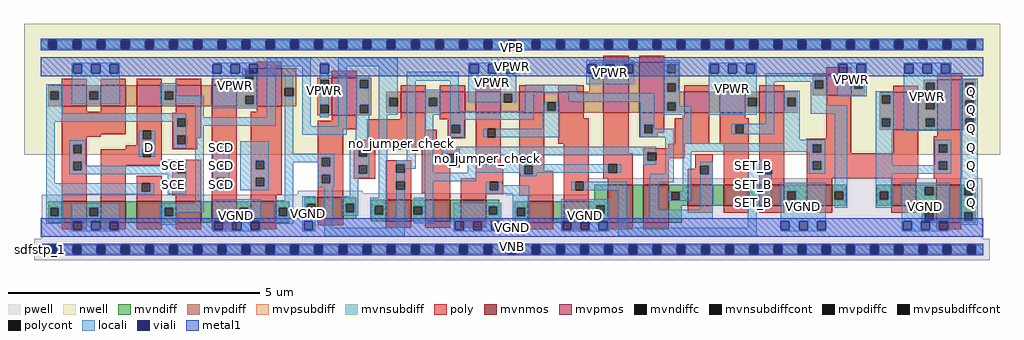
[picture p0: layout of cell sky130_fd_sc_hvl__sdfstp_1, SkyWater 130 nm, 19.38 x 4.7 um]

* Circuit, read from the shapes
.subckt sky130_fd_sc_hvl__sdfstp_1 CLK D SCD SCE SET_B VGND VNB VPB VPWR Q
XM1 VGND SCE n1 VNB sky130_fd_pr__nfet_g5v0d10v5 w=0.42 l=0.5
XM2 n2 D VGND VNB sky130_fd_pr__nfet_g5v0d10v5 w=0.42 l=0.5
XM3 n3 n1 n2 VNB sky130_fd_pr__nfet_g5v0d10v5 w=0.42 l=0.5
XM4 n4 SCE n3 VNB sky130_fd_pr__nfet_g5v0d10v5 w=0.42 l=0.5
XM5 VGND SCD n4 VNB sky130_fd_pr__nfet_g5v0d10v5 w=0.42 l=0.5
XM6 n5 CLK VGND VNB sky130_fd_pr__nfet_g5v0d10v5 w=0.42 l=0.5
XM7 n6 n5 VGND VNB sky130_fd_pr__nfet_g5v0d10v5 w=0.42 l=0.5
XM8 n7 n5 n3 VNB sky130_fd_pr__nfet_g5v0d10v5 w=0.42 l=0.5
XM9 n8 n6 n7 VNB sky130_fd_pr__nfet_g5v0d10v5 w=0.42 l=0.5
XM10 VGND n9 n8 VNB sky130_fd_pr__nfet_g5v0d10v5 w=0.42 l=0.5
XM11 n10 n7 n9 VNB sky130_fd_pr__nfet_g5v0d10v5 w=0.42 l=0.5
XM12 VGND SET_B n10 VNB sky130_fd_pr__nfet_g5v0d10v5 w=0.42 l=0.5
XM13 n11 n7 VGND VNB sky130_fd_pr__nfet_g5v0d10v5 w=0.75 l=0.5
XM14 n12 n6 n11 VNB sky130_fd_pr__nfet_g5v0d10v5 w=0.75 l=0.5
XM15 n13 n5 n12 VNB sky130_fd_pr__nfet_g5v0d10v5 w=0.42 l=0.5
XM16 n14 n15 n13 VNB sky130_fd_pr__nfet_g5v0d10v5 w=0.42 l=0.5
XM17 VGND SET_B n14 VNB sky130_fd_pr__nfet_g5v0d10v5 w=0.42 l=0.5
XM18 n15 n12 VGND VNB sky130_fd_pr__nfet_g5v0d10v5 w=0.42 l=0.5
XM19 VGND n12 n16 VNB sky130_fd_pr__nfet_g5v0d10v5 w=0.42 l=0.5
XM20 Q n16 VGND VNB sky130_fd_pr__nfet_g5v0d10v5 w=0.75 l=0.5
XM21 VPWR SCE n1 VPB sky130_fd_pr__pfet_g5v0d10v5 w=0.42 l=0.5
XM22 n17 SCE VPWR VPB sky130_fd_pr__pfet_g5v0d10v5 w=0.42 l=0.5
XM23 n3 D n17 VPB sky130_fd_pr__pfet_g5v0d10v5 w=0.42 l=0.5
XM24 n18 n1 n3 VPB sky130_fd_pr__pfet_g5v0d10v5 w=0.42 l=0.5
XM25 VPWR SCD n18 VPB sky130_fd_pr__pfet_g5v0d10v5 w=0.42 l=0.5
XM26 n5 CLK VPWR VPB sky130_fd_pr__pfet_g5v0d10v5 w=0.75 l=0.5
XM27 n6 n5 VPWR VPB sky130_fd_pr__pfet_g5v0d10v5 w=0.75 l=0.5
XM28 n7 n6 n3 VPB sky130_fd_pr__pfet_g5v0d10v5 w=0.42 l=0.5
XM29 n19 n5 n7 VPB sky130_fd_pr__pfet_g5v0d10v5 w=0.42 l=0.5
XM30 VPWR n9 n19 VPB sky130_fd_pr__pfet_g5v0d10v5 w=0.42 l=0.5
XM31 n9 n7 VPWR VPB sky130_fd_pr__pfet_g5v0d10v5 w=0.42 l=0.5
XM32 VPWR SET_B n9 VPB sky130_fd_pr__pfet_g5v0d10v5 w=0.42 l=0.5
XM33 n20 n7 VPWR VPB sky130_fd_pr__pfet_g5v0d10v5 w=1 l=0.5
XM34 n12 n5 n20 VPB sky130_fd_pr__pfet_g5v0d10v5 w=1 l=0.5
XM35 n21 n6 n12 VPB sky130_fd_pr__pfet_g5v0d10v5 w=0.42 l=0.5
XM36 VPWR n15 n21 VPB sky130_fd_pr__pfet_g5v0d10v5 w=0.42 l=0.5
XM37 n12 SET_B VPWR VPB sky130_fd_pr__pfet_g5v0d10v5 w=0.42 l=0.5
XM38 VPWR n12 n15 VPB sky130_fd_pr__pfet_g5v0d10v5 w=0.42 l=0.5
XM39 VPWR n12 n16 VPB sky130_fd_pr__pfet_g5v0d10v5 w=0.75 l=0.5
XM40 Q n16 VPWR VPB sky130_fd_pr__pfet_g5v0d10v5 w=1 l=0.5
.ends

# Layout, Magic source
magic
tech sky130B
magscale 1 2
<< nwell >>
rect -66 377 3810 897
<< pwell >>
rect 1022 223 1280 233
rect 1022 217 1848 223
rect 2173 217 3740 283
rect 4 43 3740 217
rect -26 -43 3770 43
<< mvnmos >>
rect 83 107 183 191
rect 239 107 339 191
rect 381 107 481 191
rect 537 107 637 191
rect 679 107 779 191
rect 835 107 935 191
rect 1101 123 1201 207
rect 1371 113 1471 197
rect 1527 113 1627 197
rect 1669 113 1769 197
rect 1935 107 2035 191
rect 2077 107 2177 191
rect 2252 107 2352 257
rect 2394 107 2494 257
rect 2569 173 2669 257
rect 2712 173 2812 257
rect 2854 173 2954 257
rect 3043 173 3143 257
rect 3378 173 3478 257
rect 3557 107 3657 257
<< mvpmos >>
rect 83 569 183 653
rect 239 569 339 653
rect 381 569 481 653
rect 537 569 637 653
rect 679 569 779 653
rect 858 569 958 719
rect 1156 533 1256 683
rect 1430 543 1530 627
rect 1586 543 1686 627
rect 1728 543 1828 627
rect 1900 543 2000 627
rect 2056 543 2156 627
rect 2235 543 2335 743
rect 2377 543 2477 743
rect 2556 543 2656 627
rect 2698 543 2798 627
rect 2854 543 2954 627
rect 3120 613 3220 697
rect 3386 475 3486 625
rect 3561 475 3661 675
<< mvndiff >>
rect 30 166 83 191
rect 30 132 38 166
rect 72 132 83 166
rect 30 107 83 132
rect 183 166 239 191
rect 183 132 194 166
rect 228 132 239 166
rect 183 107 239 132
rect 339 107 381 191
rect 481 166 537 191
rect 481 132 492 166
rect 526 132 537 166
rect 481 107 537 132
rect 637 107 679 191
rect 779 166 835 191
rect 779 132 790 166
rect 824 132 835 166
rect 779 107 835 132
rect 935 166 988 191
rect 935 132 946 166
rect 980 132 988 166
rect 935 107 988 132
rect 1048 182 1101 207
rect 1048 148 1056 182
rect 1090 148 1101 182
rect 1048 123 1101 148
rect 1201 182 1254 207
rect 1201 148 1212 182
rect 1246 148 1254 182
rect 1201 123 1254 148
rect 1314 173 1371 197
rect 1314 139 1326 173
rect 1360 139 1371 173
rect 1314 113 1371 139
rect 1471 172 1527 197
rect 1471 138 1482 172
rect 1516 138 1527 172
rect 1471 113 1527 138
rect 1627 113 1669 197
rect 1769 172 1822 197
rect 2199 191 2252 257
rect 1769 138 1780 172
rect 1814 138 1822 172
rect 1769 113 1822 138
rect 1882 166 1935 191
rect 1882 132 1890 166
rect 1924 132 1935 166
rect 1882 107 1935 132
rect 2035 107 2077 191
rect 2177 176 2252 191
rect 2177 142 2207 176
rect 2241 142 2252 176
rect 2177 107 2252 142
rect 2352 107 2394 257
rect 2494 229 2569 257
rect 2494 195 2505 229
rect 2539 195 2569 229
rect 2494 173 2569 195
rect 2669 173 2712 257
rect 2812 173 2854 257
rect 2954 232 3043 257
rect 2954 198 2965 232
rect 2999 198 3043 232
rect 2954 173 3043 198
rect 3143 232 3200 257
rect 3143 198 3154 232
rect 3188 198 3200 232
rect 3143 173 3200 198
rect 3321 232 3378 257
rect 3321 198 3333 232
rect 3367 198 3378 232
rect 3321 173 3378 198
rect 3478 249 3557 257
rect 3478 215 3512 249
rect 3546 215 3557 249
rect 3478 173 3557 215
rect 2494 107 2547 173
rect 3500 149 3557 173
rect 3500 115 3512 149
rect 3546 115 3557 149
rect 3500 107 3557 115
rect 3657 249 3714 257
rect 3657 215 3668 249
rect 3702 215 3714 249
rect 3657 149 3714 215
rect 3657 115 3668 149
rect 3702 115 3714 149
rect 3657 107 3714 115
<< mvpdiff >>
rect 801 711 858 719
rect 801 677 813 711
rect 847 677 858 711
rect 801 653 858 677
rect 30 628 83 653
rect 30 594 38 628
rect 72 594 83 628
rect 30 569 83 594
rect 183 628 239 653
rect 183 594 194 628
rect 228 594 239 628
rect 183 569 239 594
rect 339 569 381 653
rect 481 628 537 653
rect 481 594 492 628
rect 526 594 537 628
rect 481 569 537 594
rect 637 569 679 653
rect 779 611 858 653
rect 779 577 813 611
rect 847 577 858 611
rect 779 569 858 577
rect 958 643 1015 719
rect 2178 713 2235 743
rect 958 609 969 643
rect 1003 609 1015 643
rect 958 569 1015 609
rect 1099 675 1156 683
rect 1099 641 1111 675
rect 1145 641 1156 675
rect 1099 575 1156 641
rect 1099 541 1111 575
rect 1145 541 1156 575
rect 1099 533 1156 541
rect 1256 675 1313 683
rect 1256 641 1267 675
rect 1301 641 1313 675
rect 2178 679 2190 713
rect 2224 679 2235 713
rect 1256 575 1313 641
rect 2178 627 2235 679
rect 1256 541 1267 575
rect 1301 541 1313 575
rect 1373 602 1430 627
rect 1373 568 1385 602
rect 1419 568 1430 602
rect 1373 543 1430 568
rect 1530 602 1586 627
rect 1530 568 1541 602
rect 1575 568 1586 602
rect 1530 543 1586 568
rect 1686 543 1728 627
rect 1828 619 1900 627
rect 1828 585 1839 619
rect 1873 585 1900 619
rect 1828 543 1900 585
rect 2000 585 2056 627
rect 2000 551 2011 585
rect 2045 551 2056 585
rect 2000 543 2056 551
rect 2156 543 2235 627
rect 2335 543 2377 743
rect 2477 735 2534 743
rect 2477 701 2488 735
rect 2522 701 2534 735
rect 2477 660 2534 701
rect 2477 626 2488 660
rect 2522 627 2534 660
rect 3067 672 3120 697
rect 3067 638 3075 672
rect 3109 638 3120 672
rect 2522 626 2556 627
rect 2477 585 2556 626
rect 2477 551 2488 585
rect 2522 551 2556 585
rect 2477 543 2556 551
rect 2656 543 2698 627
rect 2798 602 2854 627
rect 2798 568 2809 602
rect 2843 568 2854 602
rect 2798 543 2854 568
rect 2954 602 3007 627
rect 3067 613 3120 638
rect 3220 672 3273 697
rect 3220 638 3231 672
rect 3265 638 3273 672
rect 3508 663 3561 675
rect 3220 613 3273 638
rect 3508 629 3516 663
rect 3550 629 3561 663
rect 3508 625 3561 629
rect 3333 613 3386 625
rect 2954 568 2965 602
rect 2999 568 3007 602
rect 2954 543 3007 568
rect 1256 533 1313 541
rect 3333 579 3341 613
rect 3375 579 3386 613
rect 3333 521 3386 579
rect 3333 487 3341 521
rect 3375 487 3386 521
rect 3333 475 3386 487
rect 3486 592 3561 625
rect 3486 558 3516 592
rect 3550 558 3561 592
rect 3486 521 3561 558
rect 3486 487 3516 521
rect 3550 487 3561 521
rect 3486 475 3561 487
rect 3661 663 3714 675
rect 3661 629 3672 663
rect 3706 629 3714 663
rect 3661 592 3714 629
rect 3661 558 3672 592
rect 3706 558 3714 592
rect 3661 521 3714 558
rect 3661 487 3672 521
rect 3706 487 3714 521
rect 3661 475 3714 487
<< mvndiffc >>
rect 38 132 72 166
rect 194 132 228 166
rect 492 132 526 166
rect 790 132 824 166
rect 946 132 980 166
rect 1056 148 1090 182
rect 1212 148 1246 182
rect 1326 139 1360 173
rect 1482 138 1516 172
rect 1780 138 1814 172
rect 1890 132 1924 166
rect 2207 142 2241 176
rect 2505 195 2539 229
rect 2965 198 2999 232
rect 3154 198 3188 232
rect 3333 198 3367 232
rect 3512 215 3546 249
rect 3512 115 3546 149
rect 3668 215 3702 249
rect 3668 115 3702 149
<< mvpdiffc >>
rect 813 677 847 711
rect 38 594 72 628
rect 194 594 228 628
rect 492 594 526 628
rect 813 577 847 611
rect 969 609 1003 643
rect 1111 641 1145 675
rect 1111 541 1145 575
rect 1267 641 1301 675
rect 2190 679 2224 713
rect 1267 541 1301 575
rect 1385 568 1419 602
rect 1541 568 1575 602
rect 1839 585 1873 619
rect 2011 551 2045 585
rect 2488 701 2522 735
rect 2488 626 2522 660
rect 3075 638 3109 672
rect 2488 551 2522 585
rect 2809 568 2843 602
rect 3231 638 3265 672
rect 3516 629 3550 663
rect 2965 568 2999 602
rect 3341 579 3375 613
rect 3341 487 3375 521
rect 3516 558 3550 592
rect 3516 487 3550 521
rect 3672 629 3706 663
rect 3672 558 3706 592
rect 3672 487 3706 521
<< mvpsubdiff >>
rect 0 -17 31 17
rect 65 -17 127 17
rect 161 -17 223 17
rect 257 -17 319 17
rect 353 -17 415 17
rect 449 -17 511 17
rect 545 -17 607 17
rect 641 -17 703 17
rect 737 -17 799 17
rect 833 -17 895 17
rect 929 -17 991 17
rect 1025 -17 1087 17
rect 1121 -17 1183 17
rect 1217 -17 1279 17
rect 1313 -17 1375 17
rect 1409 -17 1471 17
rect 1505 -17 1567 17
rect 1601 -17 1663 17
rect 1697 -17 1759 17
rect 1793 -17 1855 17
rect 1889 -17 1951 17
rect 1985 -17 2047 17
rect 2081 -17 2143 17
rect 2177 -17 2239 17
rect 2273 -17 2335 17
rect 2369 -17 2431 17
rect 2465 -17 2527 17
rect 2561 -17 2623 17
rect 2657 -17 2719 17
rect 2753 -17 2815 17
rect 2849 -17 2911 17
rect 2945 -17 3007 17
rect 3041 -17 3103 17
rect 3137 -17 3199 17
rect 3233 -17 3295 17
rect 3329 -17 3391 17
rect 3425 -17 3487 17
rect 3521 -17 3583 17
rect 3617 -17 3679 17
rect 3713 -17 3744 17
<< mvnsubdiff >>
rect 0 797 31 831
rect 65 797 127 831
rect 161 797 223 831
rect 257 797 319 831
rect 353 797 415 831
rect 449 797 511 831
rect 545 797 607 831
rect 641 797 703 831
rect 737 797 799 831
rect 833 797 895 831
rect 929 797 991 831
rect 1025 797 1087 831
rect 1121 797 1183 831
rect 1217 797 1279 831
rect 1313 797 1375 831
rect 1409 797 1471 831
rect 1505 797 1567 831
rect 1601 797 1663 831
rect 1697 797 1759 831
rect 1793 797 1855 831
rect 1889 797 1951 831
rect 1985 797 2047 831
rect 2081 797 2143 831
rect 2177 797 2239 831
rect 2273 797 2335 831
rect 2369 797 2431 831
rect 2465 797 2527 831
rect 2561 797 2623 831
rect 2657 797 2719 831
rect 2753 797 2815 831
rect 2849 797 2911 831
rect 2945 797 3007 831
rect 3041 797 3103 831
rect 3137 797 3199 831
rect 3233 797 3295 831
rect 3329 797 3391 831
rect 3425 797 3487 831
rect 3521 797 3583 831
rect 3617 797 3679 831
rect 3713 797 3744 831
<< mvpsubdiffcont >>
rect 31 -17 65 17
rect 127 -17 161 17
rect 223 -17 257 17
rect 319 -17 353 17
rect 415 -17 449 17
rect 511 -17 545 17
rect 607 -17 641 17
rect 703 -17 737 17
rect 799 -17 833 17
rect 895 -17 929 17
rect 991 -17 1025 17
rect 1087 -17 1121 17
rect 1183 -17 1217 17
rect 1279 -17 1313 17
rect 1375 -17 1409 17
rect 1471 -17 1505 17
rect 1567 -17 1601 17
rect 1663 -17 1697 17
rect 1759 -17 1793 17
rect 1855 -17 1889 17
rect 1951 -17 1985 17
rect 2047 -17 2081 17
rect 2143 -17 2177 17
rect 2239 -17 2273 17
rect 2335 -17 2369 17
rect 2431 -17 2465 17
rect 2527 -17 2561 17
rect 2623 -17 2657 17
rect 2719 -17 2753 17
rect 2815 -17 2849 17
rect 2911 -17 2945 17
rect 3007 -17 3041 17
rect 3103 -17 3137 17
rect 3199 -17 3233 17
rect 3295 -17 3329 17
rect 3391 -17 3425 17
rect 3487 -17 3521 17
rect 3583 -17 3617 17
rect 3679 -17 3713 17
<< mvnsubdiffcont >>
rect 31 797 65 831
rect 127 797 161 831
rect 223 797 257 831
rect 319 797 353 831
rect 415 797 449 831
rect 511 797 545 831
rect 607 797 641 831
rect 703 797 737 831
rect 799 797 833 831
rect 895 797 929 831
rect 991 797 1025 831
rect 1087 797 1121 831
rect 1183 797 1217 831
rect 1279 797 1313 831
rect 1375 797 1409 831
rect 1471 797 1505 831
rect 1567 797 1601 831
rect 1663 797 1697 831
rect 1759 797 1793 831
rect 1855 797 1889 831
rect 1951 797 1985 831
rect 2047 797 2081 831
rect 2143 797 2177 831
rect 2239 797 2273 831
rect 2335 797 2369 831
rect 2431 797 2465 831
rect 2527 797 2561 831
rect 2623 797 2657 831
rect 2719 797 2753 831
rect 2815 797 2849 831
rect 2911 797 2945 831
rect 3007 797 3041 831
rect 3103 797 3137 831
rect 3199 797 3233 831
rect 3295 797 3329 831
rect 3391 797 3425 831
rect 3487 797 3521 831
rect 3583 797 3617 831
rect 3679 797 3713 831
<< poly >>
rect 858 719 958 745
rect 2235 743 2335 769
rect 2377 743 2477 769
rect 83 653 183 679
rect 239 653 339 679
rect 381 653 481 679
rect 537 653 637 679
rect 679 653 779 679
rect 1156 683 1256 709
rect 83 547 183 569
rect 239 547 339 569
rect 83 457 339 547
rect 381 471 481 569
rect 537 543 637 569
rect 83 447 239 457
rect 83 417 183 447
rect 83 383 129 417
rect 163 383 183 417
rect 381 437 405 471
rect 439 437 481 471
rect 381 415 481 437
rect 339 403 481 415
rect 339 399 405 403
rect 83 349 183 383
rect 83 315 129 349
rect 163 315 183 349
rect 83 191 183 315
rect 239 369 405 399
rect 439 369 481 403
rect 523 521 637 543
rect 523 487 543 521
rect 577 487 637 521
rect 523 453 637 487
rect 523 419 543 453
rect 577 443 637 453
rect 577 419 623 443
rect 523 399 623 419
rect 239 335 481 369
rect 523 337 637 357
rect 239 191 339 335
rect 523 303 543 337
rect 577 303 637 337
rect 381 263 481 293
rect 381 229 401 263
rect 435 229 481 263
rect 381 191 481 229
rect 523 269 637 303
rect 523 235 543 269
rect 577 235 637 269
rect 523 215 637 235
rect 537 191 637 215
rect 679 353 779 569
rect 858 547 958 569
rect 679 319 700 353
rect 734 319 779 353
rect 679 285 779 319
rect 679 251 700 285
rect 734 251 779 285
rect 679 191 779 251
rect 835 353 958 547
rect 1430 627 1530 653
rect 1586 627 1686 653
rect 1728 627 1828 653
rect 1900 627 2000 653
rect 2056 627 2156 653
rect 3120 697 3220 723
rect 2556 627 2656 653
rect 2698 627 2798 653
rect 2854 627 2954 653
rect 3561 675 3661 701
rect 3386 625 3486 651
rect 1156 511 1256 533
rect 1430 517 1530 543
rect 1586 517 1686 543
rect 835 319 855 353
rect 889 319 958 353
rect 835 285 958 319
rect 835 251 855 285
rect 889 251 958 285
rect 835 217 958 251
rect 1101 477 1256 511
rect 1101 365 1201 477
rect 1298 475 1530 517
rect 1616 495 1686 517
rect 1298 435 1574 475
rect 1616 461 1632 495
rect 1666 461 1686 495
rect 1616 442 1686 461
rect 1728 479 1828 543
rect 1728 445 1774 479
rect 1808 445 1828 479
rect 1101 331 1117 365
rect 1151 331 1201 365
rect 1101 297 1201 331
rect 1101 263 1117 297
rect 1151 263 1201 297
rect 1243 403 1574 435
rect 1243 369 1263 403
rect 1297 400 1574 403
rect 1297 397 1665 400
rect 1297 369 1329 397
rect 1243 335 1329 369
rect 1514 380 1665 397
rect 1243 301 1263 335
rect 1297 301 1329 335
rect 1243 281 1329 301
rect 1371 339 1471 355
rect 1371 305 1412 339
rect 1446 305 1471 339
rect 835 191 935 217
rect 1101 207 1201 263
rect 1371 271 1471 305
rect 1371 237 1412 271
rect 1446 237 1471 271
rect 1371 197 1471 237
rect 1514 346 1611 380
rect 1645 346 1665 380
rect 1514 326 1665 346
rect 1514 223 1627 326
rect 1728 319 1828 445
rect 1900 332 2000 543
rect 2056 521 2156 543
rect 2056 421 2177 521
rect 1728 284 1837 319
rect 1527 197 1627 223
rect 1669 269 1837 284
rect 1669 235 1783 269
rect 1817 235 1837 269
rect 1669 219 1837 235
rect 1900 298 1920 332
rect 1954 313 2000 332
rect 1954 298 2035 313
rect 1669 197 1769 219
rect 1900 213 2035 298
rect 83 81 183 107
rect 239 81 339 107
rect 381 81 481 107
rect 537 81 637 107
rect 679 81 779 107
rect 835 81 935 107
rect 1101 97 1201 123
rect 1935 191 2035 213
rect 2077 269 2177 421
rect 2235 383 2335 543
rect 2377 495 2477 543
rect 2556 521 2656 543
rect 2377 461 2397 495
rect 2431 463 2477 495
rect 2431 461 2451 463
rect 2377 445 2451 461
rect 2519 421 2656 521
rect 2698 521 2798 543
rect 2698 495 2812 521
rect 2698 461 2758 495
rect 2792 461 2812 495
rect 2698 421 2812 461
rect 2493 403 2558 421
rect 2394 387 2558 403
rect 2235 339 2352 383
rect 2235 305 2255 339
rect 2289 305 2352 339
rect 2235 283 2352 305
rect 2077 235 2123 269
rect 2157 235 2177 269
rect 2252 257 2352 283
rect 2394 353 2410 387
rect 2444 362 2558 387
rect 2444 353 2494 362
rect 2394 257 2494 353
rect 2600 333 2670 379
rect 2600 320 2620 333
rect 2569 299 2620 320
rect 2654 299 2670 333
rect 2569 279 2670 299
rect 2569 257 2669 279
rect 2712 257 2812 421
rect 2854 333 2954 543
rect 3120 439 3220 613
rect 2854 299 2870 333
rect 2904 299 2954 333
rect 2854 257 2954 299
rect 3043 419 3220 439
rect 3043 385 3067 419
rect 3101 385 3220 419
rect 3043 383 3220 385
rect 3386 383 3486 475
rect 3561 449 3661 475
rect 3043 351 3486 383
rect 3043 317 3067 351
rect 3101 317 3486 351
rect 3043 283 3486 317
rect 3546 419 3661 449
rect 3546 385 3566 419
rect 3600 385 3661 419
rect 3546 351 3661 385
rect 3546 317 3566 351
rect 3600 317 3661 351
rect 3546 283 3661 317
rect 3043 257 3143 283
rect 3378 257 3478 283
rect 3557 257 3657 283
rect 2077 191 2177 235
rect 1371 87 1471 113
rect 1527 87 1627 113
rect 1669 87 1769 113
rect 2569 147 2669 173
rect 2712 147 2812 173
rect 2854 147 2954 173
rect 3043 147 3143 173
rect 3378 147 3478 173
rect 1935 81 2035 107
rect 2077 81 2177 107
rect 2252 81 2352 107
rect 2394 81 2494 107
rect 3557 81 3657 107
<< polycont >>
rect 129 383 163 417
rect 405 437 439 471
rect 129 315 163 349
rect 405 369 439 403
rect 543 487 577 521
rect 543 419 577 453
rect 543 303 577 337
rect 401 229 435 263
rect 543 235 577 269
rect 700 319 734 353
rect 700 251 734 285
rect 855 319 889 353
rect 855 251 889 285
rect 1632 461 1666 495
rect 1774 445 1808 479
rect 1117 331 1151 365
rect 1117 263 1151 297
rect 1263 369 1297 403
rect 1263 301 1297 335
rect 1412 305 1446 339
rect 1412 237 1446 271
rect 1611 346 1645 380
rect 1783 235 1817 269
rect 1920 298 1954 332
rect 2397 461 2431 495
rect 2758 461 2792 495
rect 2255 305 2289 339
rect 2123 235 2157 269
rect 2410 353 2444 387
rect 2620 299 2654 333
rect 2870 299 2904 333
rect 3067 385 3101 419
rect 3067 317 3101 351
rect 3566 385 3600 419
rect 3566 317 3600 351
<< locali >>
rect 0 797 31 831
rect 65 797 127 831
rect 161 797 223 831
rect 257 797 319 831
rect 353 797 415 831
rect 449 797 511 831
rect 545 797 607 831
rect 641 797 703 831
rect 737 797 799 831
rect 833 797 895 831
rect 929 797 991 831
rect 1025 797 1087 831
rect 1121 797 1183 831
rect 1217 797 1279 831
rect 1313 797 1375 831
rect 1409 797 1471 831
rect 1505 797 1567 831
rect 1601 797 1663 831
rect 1697 797 1759 831
rect 1793 797 1855 831
rect 1889 797 1951 831
rect 1985 797 2047 831
rect 2081 797 2143 831
rect 2177 797 2239 831
rect 2273 797 2335 831
rect 2369 797 2431 831
rect 2465 797 2527 831
rect 2561 797 2623 831
rect 2657 797 2719 831
rect 2753 797 2815 831
rect 2849 797 2911 831
rect 2945 797 3007 831
rect 3041 797 3103 831
rect 3137 797 3199 831
rect 3233 797 3295 831
rect 3329 797 3391 831
rect 3425 797 3487 831
rect 3521 797 3583 831
rect 3617 797 3679 831
rect 3713 797 3744 831
rect 124 735 314 741
rect 124 701 130 735
rect 164 701 202 735
rect 236 701 274 735
rect 308 701 314 735
rect 22 628 88 657
rect 22 594 38 628
rect 72 594 88 628
rect 22 541 88 594
rect 124 628 314 701
rect 684 735 863 741
rect 718 701 756 735
rect 790 711 828 735
rect 790 701 813 711
rect 862 701 863 735
rect 684 677 813 701
rect 847 677 863 701
rect 124 594 194 628
rect 228 594 314 628
rect 124 577 314 594
rect 476 628 542 661
rect 476 594 492 628
rect 526 611 542 628
rect 684 611 863 677
rect 526 594 648 611
rect 476 577 648 594
rect 22 521 578 541
rect 22 507 543 521
rect 22 263 56 507
rect 527 487 543 507
rect 577 487 578 521
rect 389 437 405 471
rect 439 437 455 471
rect 113 417 179 433
rect 113 383 129 417
rect 163 383 179 417
rect 113 349 179 383
rect 389 403 455 437
rect 527 453 578 487
rect 527 419 543 453
rect 577 419 578 453
rect 527 403 578 419
rect 614 525 648 577
rect 684 577 813 611
rect 847 577 863 611
rect 684 561 863 577
rect 899 727 1073 761
rect 899 525 933 727
rect 614 491 933 525
rect 969 643 1003 691
rect 389 369 405 403
rect 439 369 455 403
rect 113 315 129 349
rect 163 333 179 349
rect 505 337 578 356
rect 505 333 543 337
rect 163 315 543 333
rect 113 303 543 315
rect 577 303 578 337
rect 113 299 578 303
rect 505 269 578 299
rect 22 229 401 263
rect 435 229 451 263
rect 22 219 451 229
rect 505 235 543 269
rect 577 235 578 269
rect 505 219 578 235
rect 22 166 88 219
rect 614 183 648 491
rect 684 353 750 430
rect 684 319 700 353
rect 734 319 750 353
rect 684 285 750 319
rect 684 251 700 285
rect 734 251 750 285
rect 684 235 750 251
rect 793 353 905 430
rect 793 319 855 353
rect 889 319 905 353
rect 793 285 905 319
rect 793 251 855 285
rect 889 251 905 285
rect 793 235 905 251
rect 969 381 1003 609
rect 1039 489 1073 727
rect 1109 735 1145 741
rect 1109 701 1110 735
rect 1144 701 1145 735
rect 1109 675 1145 701
rect 1109 641 1111 675
rect 1109 575 1145 641
rect 1109 541 1111 575
rect 1109 525 1145 541
rect 1181 727 1419 761
rect 1181 489 1215 727
rect 1039 455 1215 489
rect 1251 675 1306 691
rect 1251 641 1267 675
rect 1301 641 1306 675
rect 1251 575 1306 641
rect 1251 541 1267 575
rect 1301 541 1306 575
rect 1251 419 1306 541
rect 1228 403 1306 419
rect 969 365 1167 381
rect 969 347 1117 365
rect 22 132 38 166
rect 72 132 88 166
rect 22 103 88 132
rect 124 166 314 183
rect 124 132 194 166
rect 228 132 314 166
rect 124 113 314 132
rect 124 79 130 113
rect 164 79 202 113
rect 236 79 274 113
rect 308 79 314 113
rect 476 166 648 183
rect 476 132 492 166
rect 526 149 648 166
rect 684 166 874 199
rect 969 195 1003 347
rect 1101 331 1117 347
rect 1151 331 1167 365
rect 1101 297 1167 331
rect 1101 263 1117 297
rect 1151 263 1167 297
rect 1101 247 1167 263
rect 1228 369 1263 403
rect 1297 369 1306 403
rect 1228 335 1306 369
rect 1228 301 1263 335
rect 1297 301 1306 335
rect 1228 285 1306 301
rect 1342 602 1419 727
rect 1699 735 1889 741
rect 1342 568 1385 602
rect 1342 535 1419 568
rect 1455 671 1661 705
rect 526 132 542 149
rect 476 99 542 132
rect 684 132 790 166
rect 824 132 874 166
rect 684 113 874 132
rect 124 73 314 79
rect 684 79 690 113
rect 724 79 762 113
rect 796 79 834 113
rect 868 79 874 113
rect 930 166 1003 195
rect 930 132 946 166
rect 980 132 1003 166
rect 930 103 1003 132
rect 1040 182 1090 211
rect 1040 148 1056 182
rect 1040 113 1090 148
rect 684 73 874 79
rect 1040 79 1046 113
rect 1080 79 1090 113
rect 1040 73 1090 79
rect 1126 87 1160 247
rect 1228 211 1262 285
rect 1196 182 1262 211
rect 1342 205 1376 535
rect 1455 355 1489 671
rect 1196 148 1212 182
rect 1246 148 1262 182
rect 1196 135 1262 148
rect 1310 173 1376 205
rect 1310 139 1326 173
rect 1360 139 1376 173
rect 1310 123 1376 139
rect 1412 339 1489 355
rect 1446 321 1489 339
rect 1525 602 1591 635
rect 1525 568 1541 602
rect 1575 568 1591 602
rect 1525 535 1591 568
rect 1627 549 1661 671
rect 1699 701 1705 735
rect 1739 701 1777 735
rect 1811 701 1849 735
rect 1883 701 1889 735
rect 1699 619 1889 701
rect 2167 735 2357 751
rect 2167 701 2173 735
rect 2207 713 2245 735
rect 2224 701 2245 713
rect 2279 701 2317 735
rect 2351 701 2357 735
rect 2167 679 2190 701
rect 2224 679 2357 701
rect 2167 657 2357 679
rect 2472 735 2538 751
rect 2472 701 2488 735
rect 2522 701 2538 735
rect 2472 660 2538 701
rect 1699 585 1839 619
rect 1873 585 1889 619
rect 1925 621 2131 655
rect 2472 626 2488 660
rect 2522 626 2538 660
rect 1925 549 1959 621
rect 2097 587 2436 621
rect 1412 271 1446 305
rect 1412 87 1446 237
rect 1525 305 1559 535
rect 1627 515 1959 549
rect 1995 551 2011 585
rect 2045 551 2061 585
rect 1627 495 1682 515
rect 1627 461 1632 495
rect 1666 461 1682 495
rect 1995 479 2061 551
rect 1627 445 1682 461
rect 1758 445 1774 479
rect 1808 445 2061 479
rect 2381 495 2436 587
rect 2472 585 2538 626
rect 2472 551 2488 585
rect 2522 569 2538 585
rect 2653 735 2843 741
rect 2653 701 2659 735
rect 2693 701 2731 735
rect 2765 701 2803 735
rect 2837 701 2843 735
rect 3163 735 3281 741
rect 3163 701 3169 735
rect 3203 701 3241 735
rect 3275 701 3281 735
rect 2653 602 2843 701
rect 2522 551 2584 569
rect 2472 535 2584 551
rect 2653 568 2809 602
rect 2653 535 2843 568
rect 2879 672 3125 701
rect 2879 667 3075 672
rect 2381 461 2397 495
rect 2431 479 2436 495
rect 2431 461 2514 479
rect 2381 445 2514 461
rect 1595 387 2444 409
rect 1595 380 2410 387
rect 1595 346 1611 380
rect 1645 375 2410 380
rect 1645 346 1661 375
rect 1595 341 1661 346
rect 2394 353 2410 375
rect 1697 332 2255 339
rect 1697 305 1920 332
rect 1525 271 1731 305
rect 1904 298 1920 305
rect 1954 305 2255 332
rect 2289 305 2305 339
rect 2394 337 2444 353
rect 1954 298 1970 305
rect 2480 301 2514 445
rect 1904 291 1970 298
rect 1525 205 1559 271
rect 1767 235 1783 269
rect 1817 255 1833 269
rect 1817 235 1940 255
rect 2107 235 2123 269
rect 2157 235 2327 269
rect 1767 221 1940 235
rect 1482 172 1559 205
rect 1516 138 1559 172
rect 1482 105 1559 138
rect 1640 172 1830 185
rect 1640 138 1780 172
rect 1814 138 1830 172
rect 1640 113 1830 138
rect 1126 53 1446 87
rect 1640 79 1646 113
rect 1680 79 1718 113
rect 1752 79 1790 113
rect 1824 79 1830 113
rect 1874 166 1940 221
rect 1874 132 1890 166
rect 1924 132 1940 166
rect 1874 103 1940 132
rect 2067 176 2257 199
rect 2067 142 2207 176
rect 2241 142 2257 176
rect 2067 113 2257 142
rect 1640 73 1830 79
rect 2067 79 2073 113
rect 2107 79 2145 113
rect 2179 79 2217 113
rect 2251 79 2257 113
rect 2067 73 2257 79
rect 2293 87 2327 235
rect 2419 267 2514 301
rect 2550 422 2584 535
rect 2879 499 2913 667
rect 3059 638 3075 667
rect 3109 638 3125 672
rect 2742 495 2913 499
rect 2742 461 2758 495
rect 2792 461 2913 495
rect 2742 458 2913 461
rect 2949 602 3015 631
rect 2949 568 2965 602
rect 2999 568 3015 602
rect 2949 435 3015 568
rect 3059 573 3125 638
rect 3163 672 3281 701
rect 3163 638 3231 672
rect 3265 638 3281 672
rect 3163 609 3281 638
rect 3427 735 3616 741
rect 3427 701 3432 735
rect 3466 701 3504 735
rect 3538 701 3576 735
rect 3610 701 3616 735
rect 3427 663 3616 701
rect 3427 629 3516 663
rect 3550 629 3616 663
rect 3317 613 3391 629
rect 3317 579 3341 613
rect 3375 579 3391 613
rect 3059 539 3204 573
rect 2949 422 3117 435
rect 2550 419 3117 422
rect 2550 388 3067 419
rect 2419 157 2453 267
rect 2550 231 2584 388
rect 3051 385 3067 388
rect 3101 385 3117 419
rect 2489 229 2584 231
rect 2489 195 2505 229
rect 2539 195 2584 229
rect 2489 193 2584 195
rect 2620 333 2670 349
rect 2654 299 2670 333
rect 2620 157 2670 299
rect 2419 123 2670 157
rect 2809 333 2904 352
rect 2809 299 2870 333
rect 3051 351 3117 385
rect 3051 317 3067 351
rect 3101 317 3117 351
rect 3051 301 3117 317
rect 2809 162 2904 299
rect 2940 232 3118 265
rect 2940 198 2965 232
rect 2999 198 3118 232
rect 2809 87 2843 162
rect 2293 53 2843 87
rect 2940 113 3118 198
rect 3154 232 3204 539
rect 3188 198 3204 232
rect 3154 165 3204 198
rect 3317 521 3391 579
rect 3317 487 3341 521
rect 3375 487 3391 521
rect 3317 471 3391 487
rect 3427 592 3616 629
rect 3427 558 3516 592
rect 3550 558 3616 592
rect 3427 521 3616 558
rect 3427 487 3516 521
rect 3550 487 3616 521
rect 3427 471 3616 487
rect 3652 663 3722 679
rect 3652 629 3672 663
rect 3706 629 3722 663
rect 3652 592 3722 629
rect 3652 558 3672 592
rect 3706 558 3722 592
rect 3652 521 3722 558
rect 3652 487 3672 521
rect 3706 487 3722 521
rect 3317 335 3383 471
rect 3550 419 3616 435
rect 3550 385 3566 419
rect 3600 385 3616 419
rect 3550 351 3616 385
rect 3550 335 3566 351
rect 3317 317 3566 335
rect 3600 317 3616 351
rect 3317 301 3616 317
rect 3317 232 3383 301
rect 3317 198 3333 232
rect 3367 198 3383 232
rect 3317 165 3383 198
rect 3419 249 3609 265
rect 3419 215 3512 249
rect 3546 215 3609 249
rect 2974 79 3012 113
rect 3046 79 3084 113
rect 2940 73 3118 79
rect 3419 149 3609 215
rect 3419 115 3512 149
rect 3546 115 3609 149
rect 3419 113 3609 115
rect 3419 79 3425 113
rect 3459 79 3497 113
rect 3531 79 3569 113
rect 3603 79 3609 113
rect 3652 249 3722 487
rect 3652 215 3668 249
rect 3702 215 3722 249
rect 3652 149 3722 215
rect 3652 115 3668 149
rect 3702 115 3722 149
rect 3652 99 3722 115
rect 3419 73 3609 79
rect 0 -17 31 17
rect 65 -17 127 17
rect 161 -17 223 17
rect 257 -17 319 17
rect 353 -17 415 17
rect 449 -17 511 17
rect 545 -17 607 17
rect 641 -17 703 17
rect 737 -17 799 17
rect 833 -17 895 17
rect 929 -17 991 17
rect 1025 -17 1087 17
rect 1121 -17 1183 17
rect 1217 -17 1279 17
rect 1313 -17 1375 17
rect 1409 -17 1471 17
rect 1505 -17 1567 17
rect 1601 -17 1663 17
rect 1697 -17 1759 17
rect 1793 -17 1855 17
rect 1889 -17 1951 17
rect 1985 -17 2047 17
rect 2081 -17 2143 17
rect 2177 -17 2239 17
rect 2273 -17 2335 17
rect 2369 -17 2431 17
rect 2465 -17 2527 17
rect 2561 -17 2623 17
rect 2657 -17 2719 17
rect 2753 -17 2815 17
rect 2849 -17 2911 17
rect 2945 -17 3007 17
rect 3041 -17 3103 17
rect 3137 -17 3199 17
rect 3233 -17 3295 17
rect 3329 -17 3391 17
rect 3425 -17 3487 17
rect 3521 -17 3583 17
rect 3617 -17 3679 17
rect 3713 -17 3744 17
<< viali >>
rect 31 797 65 831
rect 127 797 161 831
rect 223 797 257 831
rect 319 797 353 831
rect 415 797 449 831
rect 511 797 545 831
rect 607 797 641 831
rect 703 797 737 831
rect 799 797 833 831
rect 895 797 929 831
rect 991 797 1025 831
rect 1087 797 1121 831
rect 1183 797 1217 831
rect 1279 797 1313 831
rect 1375 797 1409 831
rect 1471 797 1505 831
rect 1567 797 1601 831
rect 1663 797 1697 831
rect 1759 797 1793 831
rect 1855 797 1889 831
rect 1951 797 1985 831
rect 2047 797 2081 831
rect 2143 797 2177 831
rect 2239 797 2273 831
rect 2335 797 2369 831
rect 2431 797 2465 831
rect 2527 797 2561 831
rect 2623 797 2657 831
rect 2719 797 2753 831
rect 2815 797 2849 831
rect 2911 797 2945 831
rect 3007 797 3041 831
rect 3103 797 3137 831
rect 3199 797 3233 831
rect 3295 797 3329 831
rect 3391 797 3425 831
rect 3487 797 3521 831
rect 3583 797 3617 831
rect 3679 797 3713 831
rect 130 701 164 735
rect 202 701 236 735
rect 274 701 308 735
rect 684 701 718 735
rect 756 701 790 735
rect 828 711 862 735
rect 828 701 847 711
rect 847 701 862 711
rect 1110 701 1144 735
rect 130 79 164 113
rect 202 79 236 113
rect 274 79 308 113
rect 690 79 724 113
rect 762 79 796 113
rect 834 79 868 113
rect 1046 79 1080 113
rect 1705 701 1739 735
rect 1777 701 1811 735
rect 1849 701 1883 735
rect 2173 713 2207 735
rect 2173 701 2190 713
rect 2190 701 2207 713
rect 2245 701 2279 735
rect 2317 701 2351 735
rect 2659 701 2693 735
rect 2731 701 2765 735
rect 2803 701 2837 735
rect 3169 701 3203 735
rect 3241 701 3275 735
rect 1646 79 1680 113
rect 1718 79 1752 113
rect 1790 79 1824 113
rect 2073 79 2107 113
rect 2145 79 2179 113
rect 2217 79 2251 113
rect 3432 701 3466 735
rect 3504 701 3538 735
rect 3576 701 3610 735
rect 2940 79 2974 113
rect 3012 79 3046 113
rect 3084 79 3118 113
rect 3425 79 3459 113
rect 3497 79 3531 113
rect 3569 79 3603 113
rect 31 -17 65 17
rect 127 -17 161 17
rect 223 -17 257 17
rect 319 -17 353 17
rect 415 -17 449 17
rect 511 -17 545 17
rect 607 -17 641 17
rect 703 -17 737 17
rect 799 -17 833 17
rect 895 -17 929 17
rect 991 -17 1025 17
rect 1087 -17 1121 17
rect 1183 -17 1217 17
rect 1279 -17 1313 17
rect 1375 -17 1409 17
rect 1471 -17 1505 17
rect 1567 -17 1601 17
rect 1663 -17 1697 17
rect 1759 -17 1793 17
rect 1855 -17 1889 17
rect 1951 -17 1985 17
rect 2047 -17 2081 17
rect 2143 -17 2177 17
rect 2239 -17 2273 17
rect 2335 -17 2369 17
rect 2431 -17 2465 17
rect 2527 -17 2561 17
rect 2623 -17 2657 17
rect 2719 -17 2753 17
rect 2815 -17 2849 17
rect 2911 -17 2945 17
rect 3007 -17 3041 17
rect 3103 -17 3137 17
rect 3199 -17 3233 17
rect 3295 -17 3329 17
rect 3391 -17 3425 17
rect 3487 -17 3521 17
rect 3583 -17 3617 17
rect 3679 -17 3713 17
<< metal1 >>
rect 0 831 3744 837
rect 0 797 31 831
rect 65 797 127 831
rect 161 797 223 831
rect 257 797 319 831
rect 353 797 415 831
rect 449 797 511 831
rect 545 797 607 831
rect 641 797 703 831
rect 737 797 799 831
rect 833 797 895 831
rect 929 797 991 831
rect 1025 797 1087 831
rect 1121 797 1183 831
rect 1217 797 1279 831
rect 1313 797 1375 831
rect 1409 797 1471 831
rect 1505 797 1567 831
rect 1601 797 1663 831
rect 1697 797 1759 831
rect 1793 797 1855 831
rect 1889 797 1951 831
rect 1985 797 2047 831
rect 2081 797 2143 831
rect 2177 797 2239 831
rect 2273 797 2335 831
rect 2369 797 2431 831
rect 2465 797 2527 831
rect 2561 797 2623 831
rect 2657 797 2719 831
rect 2753 797 2815 831
rect 2849 797 2911 831
rect 2945 797 3007 831
rect 3041 797 3103 831
rect 3137 797 3199 831
rect 3233 797 3295 831
rect 3329 797 3391 831
rect 3425 797 3487 831
rect 3521 797 3583 831
rect 3617 797 3679 831
rect 3713 797 3744 831
rect 0 791 3744 797
rect 0 735 3744 763
rect 0 701 130 735
rect 164 701 202 735
rect 236 701 274 735
rect 308 701 684 735
rect 718 701 756 735
rect 790 701 828 735
rect 862 701 1110 735
rect 1144 701 1705 735
rect 1739 701 1777 735
rect 1811 701 1849 735
rect 1883 701 2173 735
rect 2207 701 2245 735
rect 2279 701 2317 735
rect 2351 701 2659 735
rect 2693 701 2731 735
rect 2765 701 2803 735
rect 2837 701 3169 735
rect 3203 701 3241 735
rect 3275 701 3432 735
rect 3466 701 3504 735
rect 3538 701 3576 735
rect 3610 701 3744 735
rect 0 689 3744 701
rect 0 113 3744 125
rect 0 79 130 113
rect 164 79 202 113
rect 236 79 274 113
rect 308 79 690 113
rect 724 79 762 113
rect 796 79 834 113
rect 868 79 1046 113
rect 1080 79 1646 113
rect 1680 79 1718 113
rect 1752 79 1790 113
rect 1824 79 2073 113
rect 2107 79 2145 113
rect 2179 79 2217 113
rect 2251 79 2940 113
rect 2974 79 3012 113
rect 3046 79 3084 113
rect 3118 79 3425 113
rect 3459 79 3497 113
rect 3531 79 3569 113
rect 3603 79 3744 113
rect 0 51 3744 79
rect 0 17 3744 23
rect 0 -17 31 17
rect 65 -17 127 17
rect 161 -17 223 17
rect 257 -17 319 17
rect 353 -17 415 17
rect 449 -17 511 17
rect 545 -17 607 17
rect 641 -17 703 17
rect 737 -17 799 17
rect 833 -17 895 17
rect 929 -17 991 17
rect 1025 -17 1087 17
rect 1121 -17 1183 17
rect 1217 -17 1279 17
rect 1313 -17 1375 17
rect 1409 -17 1471 17
rect 1505 -17 1567 17
rect 1601 -17 1663 17
rect 1697 -17 1759 17
rect 1793 -17 1855 17
rect 1889 -17 1951 17
rect 1985 -17 2047 17
rect 2081 -17 2143 17
rect 2177 -17 2239 17
rect 2273 -17 2335 17
rect 2369 -17 2431 17
rect 2465 -17 2527 17
rect 2561 -17 2623 17
rect 2657 -17 2719 17
rect 2753 -17 2815 17
rect 2849 -17 2911 17
rect 2945 -17 3007 17
rect 3041 -17 3103 17
rect 3137 -17 3199 17
rect 3233 -17 3295 17
rect 3329 -17 3391 17
rect 3425 -17 3487 17
rect 3521 -17 3583 17
rect 3617 -17 3679 17
rect 3713 -17 3744 17
rect 0 -23 3744 -17
<< labels >>
flabel comment s 1776 362 1776 362 0 FreeSans 200 90 0 0 no_jumper_check
flabel comment s 1435 420 1435 420 0 FreeSans 200 0 0 0 no_jumper_check
rlabel comment s 0 0 0 0 4 sdfstp_1
flabel metal1 s 0 51 3744 125 0 FreeSans 340 0 0 0 VGND
port 6 nsew ground bidirectional
flabel metal1 s 0 0 3744 23 0 FreeSans 340 0 0 0 VNB
port 7 nsew ground bidirectional
flabel metal1 s 0 689 3744 763 0 FreeSans 340 0 0 0 VPWR
port 9 nsew power bidirectional
flabel metal1 s 0 791 3744 814 0 FreeSans 340 0 0 0 VPB
port 8 nsew power bidirectional
flabel locali s 703 242 737 276 0 FreeSans 340 0 0 0 SCD
port 3 nsew signal input
flabel locali s 703 316 737 350 0 FreeSans 340 0 0 0 SCD
port 3 nsew signal input
flabel locali s 703 390 737 424 0 FreeSans 340 0 0 0 SCD
port 3 nsew signal input
flabel locali s 511 242 545 276 0 FreeSans 340 0 0 0 SCE
port 4 nsew signal input
flabel locali s 511 316 545 350 0 FreeSans 340 0 0 0 SCE
port 4 nsew signal input
flabel locali s 415 390 449 424 0 FreeSans 340 0 0 0 D
port 2 nsew signal input
flabel locali s 799 242 833 276 0 FreeSans 340 0 0 0 CLK
port 1 nsew clock input
flabel locali s 799 316 833 350 0 FreeSans 340 0 0 0 CLK
port 1 nsew clock input
flabel locali s 799 390 833 424 0 FreeSans 340 0 0 0 CLK
port 1 nsew clock input
flabel locali s 3679 168 3713 202 0 FreeSans 340 0 0 0 Q
port 10 nsew signal output
flabel locali s 3679 242 3713 276 0 FreeSans 340 0 0 0 Q
port 10 nsew signal output
flabel locali s 3679 316 3713 350 0 FreeSans 340 0 0 0 Q
port 10 nsew signal output
flabel locali s 3679 390 3713 424 0 FreeSans 340 0 0 0 Q
port 10 nsew signal output
flabel locali s 3679 464 3713 498 0 FreeSans 340 0 0 0 Q
port 10 nsew signal output
flabel locali s 3679 538 3713 572 0 FreeSans 340 0 0 0 Q
port 10 nsew signal output
flabel locali s 3679 612 3713 646 0 FreeSans 340 0 0 0 Q
port 10 nsew signal output
flabel locali s 2815 168 2849 202 0 FreeSans 340 0 0 0 SET_B
port 5 nsew signal input
flabel locali s 2815 242 2849 276 0 FreeSans 340 0 0 0 SET_B
port 5 nsew signal input
flabel locali s 2815 316 2849 350 0 FreeSans 340 0 0 0 SET_B
port 5 nsew signal input
rlabel locali s 2067 73 2257 199 1 VGND
port 6 nsew ground bidirectional
rlabel locali s 2940 73 3118 265 1 VGND
port 6 nsew ground bidirectional
rlabel locali s 3419 73 3609 265 1 VGND
port 6 nsew ground bidirectional
rlabel locali s 684 73 874 199 1 VGND
port 6 nsew ground bidirectional
rlabel locali s 1040 73 1090 211 1 VGND
port 6 nsew ground bidirectional
rlabel locali s 1640 73 1830 185 1 VGND
port 6 nsew ground bidirectional
rlabel metal1 s 0 51 3744 125 1 VGND
port 6 nsew ground bidirectional
rlabel metal1 s 0 -23 3744 23 1 VNB
port 7 nsew ground bidirectional
rlabel metal1 s 0 791 3744 837 1 VPB
port 8 nsew power bidirectional
rlabel locali s 2167 657 2357 751 1 VPWR
port 9 nsew power bidirectional
rlabel locali s 2653 535 2843 741 1 VPWR
port 9 nsew power bidirectional
rlabel locali s 3163 609 3281 741 1 VPWR
port 9 nsew power bidirectional
rlabel locali s 3427 471 3616 741 1 VPWR
port 9 nsew power bidirectional
rlabel locali s 684 561 863 741 1 VPWR
port 9 nsew power bidirectional
rlabel locali s 1109 525 1145 741 1 VPWR
port 9 nsew power bidirectional
rlabel locali s 1699 585 1889 741 1 VPWR
port 9 nsew power bidirectional
rlabel metal1 s 0 689 3744 763 1 VPWR
port 9 nsew power bidirectional
<< properties >>
string FIXED_BBOX 0 0 3744 814
string GDS_END 605350
string GDS_FILE $PDKPATH/libs.ref/sky130_fd_sc_hvl/gds/sky130_fd_sc_hvl.gds
string GDS_START 570398
string LEFclass CORE
string LEFsite unithv
string LEFsymmetry X Y
<< end >>
